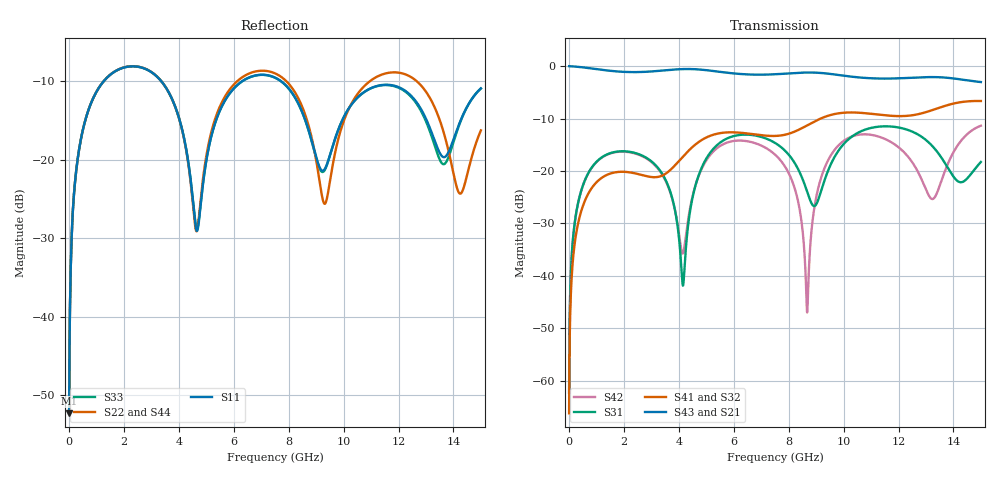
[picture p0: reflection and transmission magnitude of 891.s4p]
! Created with skrf 1.8.0 (http://scikit-rf.org).
# GHz S RI R 50.0
!freq ReS11 ImS11 ReS12 ImS12 ReS13 ImS13
! ReS14 ImS14
! ReS21 ImS21 ReS22 ImS22 ReS23 ImS23
! ReS24 ImS24
! ReS31 ImS31 ReS32 ImS32 ReS33 ImS33
! ReS34 ImS34
! ReS41 ImS41 ReS42 ImS42 ReS43 ImS43
! ReS44 ImS44
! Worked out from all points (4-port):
!   2499 points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, 5 MHz to 15 GHz, reference 50 ohm
!   strongest paths, dB at 5 MHz, 3.476 GHz, 7.19 GHz, 11.1 GHz, 15 GHz:
!     S43: 0.0, -0.8, -1.6, -2.3, -3.0
!     S21: 0.0, -0.8, -1.6, -2.4, -3.0
!     S41: -66.2, -20.7, -13.3, -9.2, -6.7
!     S32: -66.2, -20.7, -13.3, -9.2, -6.7
!     S31: -62.3, -21.3, -13.8, -11.7, -18.3
!     S42: -62.3, -21.4, -15.7, -13.2, -11.4
!   lowest |S11| = -52.3 dB at 5 MHz (marker M1), VSWR 1.00, Z = 50.2 + j0.147 ohm
!   |S11| at or under -10 dB: start of sweep to 1.265 GHz; 3.361 GHz to 6.31 GHz (2.949 GHz wide, 61 % of centre); 7.724 GHz to end of sweep
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0.005  0.00193 0.00146  0.998 -0.00375  9.78e-05 0.000765  -9.49e-05 -0.00048
       0.998 -0.00375  0.00193 0.00146  -9.49e-05 -0.00048  9.77e-05 0.000765
       9.78e-05 0.000765  -9.49e-05 -0.00048  0.00193 0.00146  0.998 -0.00375
       -9.49e-05 -0.00048  9.77e-05 0.000765  0.998 -0.00375  0.00193 0.00146
1.369321  0.2818 0.1737  0.5235 -0.7435  0.1321 0.0555  -0.0915 -0.00215
          0.5235 -0.7435  0.2828 0.173  -0.0914 -0.0022  0.1296 0.0591
          0.1321 0.0555  -0.0914 -0.0022  0.2818 0.1737  0.5235 -0.7435
          -0.0915 -0.00215  0.1296 0.0591  0.5235 -0.7435  0.2827 0.173
4.145477  0.0777 -0.1269  -0.8515 -0.389  -0.00779 -0.00226  -0.0529 0.126
          -0.8515 -0.389  0.0758 -0.1266  -0.0533 0.1259  -0.0158 -0.00414
          -0.00779 -0.00226  -0.0533 0.1259  0.0786 -0.1267  -0.8514 -0.3891
          -0.0529 0.126  -0.0158 -0.00414  -0.8514 -0.3891  0.0751 -0.1271
4.695707  0.0359 0.00663  -0.9296 -0.0285  0.0191 0.0846  0.00047 0.1865
          -0.9296 -0.0285  0.0364 0.0107  -5.23e-05 0.1864  -0.0023 0.0858
          0.0191 0.0846  -5.23e-05 0.1864  0.0373 0.00634  -0.9296 -0.0288
          0.00047 0.1865  -0.0023 0.0858  -0.9296 -0.0288  0.035 0.0103
8.672363  0.1285 -0.1044  0.7094 0.5008  -0.0421 -0.0477  0.1481 -0.2282
          0.7094 0.5008  0.1087 -0.14  0.1505 -0.2265  -0.00412 -0.00175
          -0.0421 -0.0477  0.1505 -0.2265  0.1259 -0.1051  0.7096 0.5009
          0.1481 -0.2282  -0.00412 -0.00175  0.7096 0.5009  0.1096 -0.1377
11.99875  0.2871 -0.0416  0.035 -0.7618  0.1676 -0.1986  -0.3276 0.0623
          0.035 -0.7618  0.3516 -0.0707  -0.3261 0.0577  0.1643 -0.0372
          0.1676 -0.1986  -0.3261 0.0577  0.2836 -0.0473  0.0354 -0.7635
          -0.3276 0.0623  0.1643 -0.0372  0.0354 -0.7635  0.3464 -0.0653
15  0.2574 0.1199  -0.6514 0.2685  0.0958 0.0753  0.2305 0.4037
    -0.6514 0.2685  0.1295 0.0827  0.2242 0.4069  0.2533 0.094
    0.0958 0.0753  0.2242 0.4069  0.2553 0.1258  -0.651 0.2685
    0.2305 0.4037  0.2533 0.094  -0.651 0.2685  0.1321 0.0843
